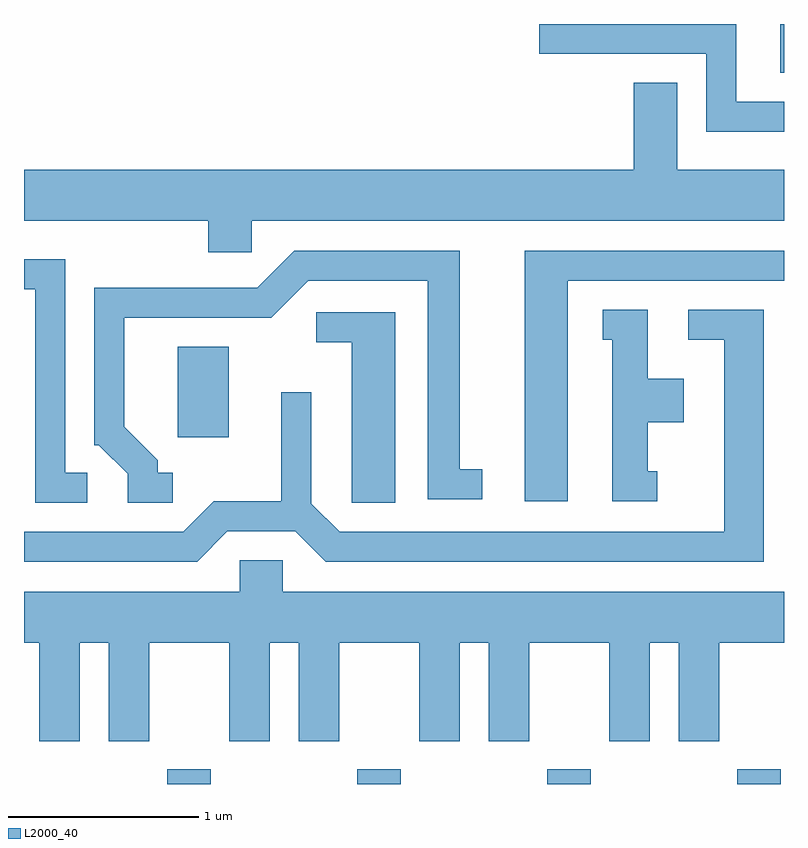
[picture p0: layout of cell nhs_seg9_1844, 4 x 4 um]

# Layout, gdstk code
import gdstk
lib = gdstk.Library(unit=1e-6, precision=1e-09)
def R(c, l, rs):  # rectangles x0, y0, x1, y1
    for r in rs: c.add(gdstk.rectangle(r[:2], r[2:], *l))
def A(c, l, x, y, w, h, nx, ny, dx, dy):  # array of equal rectangles
    R(c, l, [(x+i*dx, y+j*dy, x+i*dx+w, y+j*dy+h) for i in range(nx) for j in range(ny)])
def P(c, l, *ps):  # polygons
    for p in ps: c.add(gdstk.Polygon(p, *l))
L2000_40 = (2000, 40)

nhs_seg9_1844 = lib.new_cell('nhs_seg9_1844')
A(nhs_seg9_1844, L2000_40, 240.366, 1964.432, 0.228, 0.077, 4, 1, 1, 0)
R(nhs_seg9_1844, L2000_40, [(240.421,1966.256,240.689,1966.734), (243.591,1968.176,243.611,1968.432)])
P(nhs_seg9_1844, L2000_40, [(243.611,1968.024),(243.359,1968.024),(243.359,1968.432),(242.323,1968.432),(242.323,1968.276),(243.201,1968.276),(243.201,1967.866),(243.611,1967.866)],
  [(240.809,1967.396),(243.611,1967.396),(243.611,1967.664),(243.049,1967.664),(243.049,1968.124),(242.821,1968.124),(242.821,1967.664),(239.611,1967.664),(239.611,1967.396),(240.581,1967.396),(240.581,1967.231),(240.809,1967.231)],
  [(240.393,1966.069),(240.314,1966.069),(240.314,1966.137),(240.139,1966.312),(240.139,1966.886),(240.912,1966.886),(241.107,1967.081),(241.736,1967.081),(241.736,1965.931),(242.023,1965.931),(242.023,1966.089),(241.904,1966.089),(241.904,1967.239),(241.034,1967.239),(240.839,1967.044),(239.981,1967.044),(239.981,1966.216),(240.004,1966.216),(240.156,1966.064),(240.156,1965.911),(240.393,1965.911)],
  [(242.474,1967.081),(243.611,1967.081),(243.611,1967.239),(242.246,1967.239),(242.246,1965.921),(242.474,1965.921)],
  [(239.943,1966.069),(239.829,1966.069),(239.829,1967.194),(239.611,1967.194),(239.611,1967.036),(239.671,1967.036),(239.671,1965.911),(239.943,1965.911)],
  [(240.682,1965.761),(241.039,1965.761),(241.199,1965.601),(243.504,1965.601),(243.504,1966.929),(243.108,1966.929),(243.108,1966.771),(243.296,1966.771),(243.296,1965.759),(241.272,1965.759),(241.124,1965.907),(241.124,1966.493),(240.966,1966.493),(240.966,1965.919),(240.609,1965.919),(240.449,1965.759),(239.611,1965.759),(239.611,1965.601),(240.522,1965.601)],
  [(242.943,1966.079),(242.894,1966.079),(242.894,1966.336),(243.084,1966.336),(243.084,1966.564),(242.894,1966.564),(242.894,1966.929),(242.658,1966.929),(242.658,1966.771),(242.706,1966.771),(242.706,1965.921),(242.943,1965.921)],
  [(241.564,1966.914),(241.148,1966.914),(241.148,1966.756),(241.336,1966.756),(241.336,1965.911),(241.564,1965.911)],
  [(239.904,1965.176),(240.056,1965.176),(240.056,1964.656),(240.269,1964.656),(240.269,1965.176),(240.691,1965.176),(240.691,1964.656),(240.904,1964.656),(240.904,1965.176),(241.056,1965.176),(241.056,1964.656),(241.269,1964.656),(241.269,1965.176),(241.691,1965.176),(241.691,1964.656),(241.904,1964.656),(241.904,1965.176),(242.056,1965.176),(242.056,1964.656),(242.269,1964.656),(242.269,1965.176),(242.691,1965.176),(242.691,1964.656),(242.904,1964.656),(242.904,1965.176),(243.056,1965.176),(243.056,1964.656),(243.269,1964.656),(243.269,1965.176),(243.611,1965.176),(243.611,1965.444),(240.974,1965.444),(240.974,1965.609),(240.746,1965.609),(240.746,1965.444),(239.611,1965.444),(239.611,1965.176),(239.691,1965.176),(239.691,1964.656),(239.904,1964.656)])

lib.write_gds('nhs_seg9_1844.gds')
